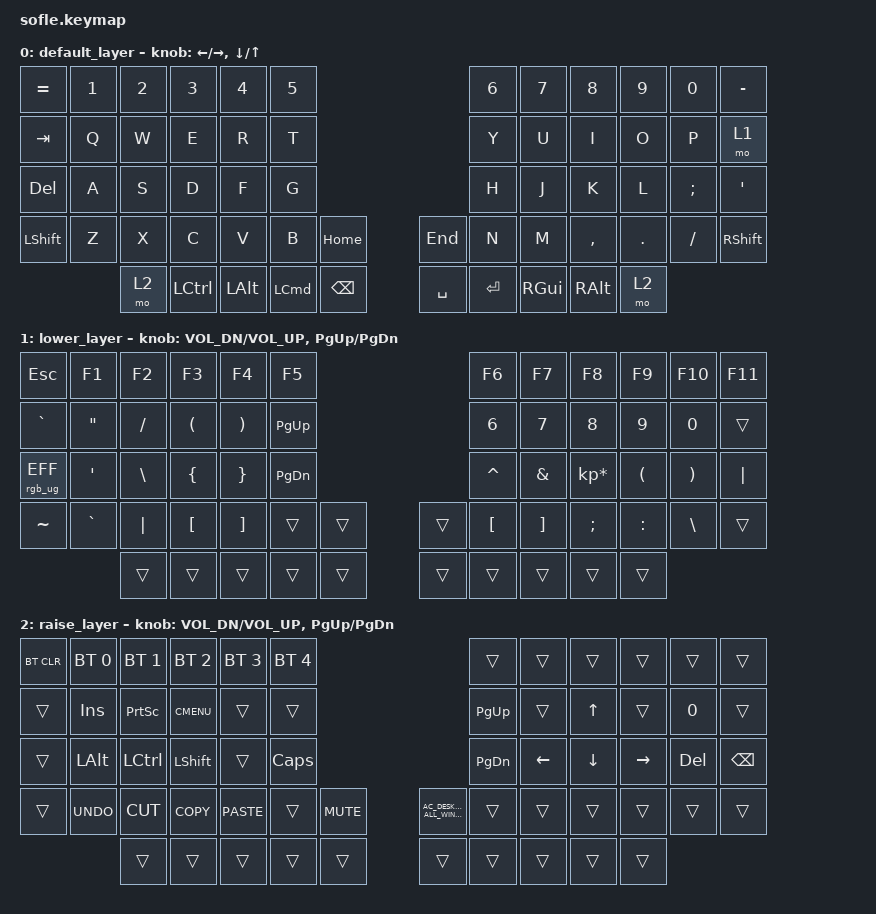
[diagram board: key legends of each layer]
/*
 * Copyright (c) 2020 The ZMK Contributors
 *
 * SPDX-License-Identifier: MIT
 */

#include <behaviors.dtsi>
#include <dt-bindings/zmk/bt.h>
#include <dt-bindings/zmk/keys.h>
#include <dt-bindings/zmk/rgb.h>

/ {
    keymap {
        compatible = "zmk,keymap";

        default_layer {
            // ------------------------------------------------------------------------------------------------------------
            // |  `    |  1  |  2  |  3   |  4   |  5   |                   |  6   |  7    |  8    |  9   |   0   |       |
            // |  ESC  |  Q  |  W  |  E   |  R   |  T   |                   |  Y   |  U    |  I    |  O   |   P   | BKSPC |
            // |  TAB  |  A  |  S  |  D   |  F   |  G   |                   |  H   |  J    |  K    |  L   |   ;   |   '   |
            // | SHIFT |  Z  |  X  |  C   |  V   |  B   |  MUTE  |  |       |  N   |  M    |  ,    |  .   |   /   | SHIFT |
            //               | GUI | ALT  | CTRL | LOWER|  ENTER |  | SPACE | RAISE| CTRL  | ALT   | GUI  |

            bindings = <
 &kp EQUAL  &kp N1  &kp N2     &kp N3        &kp N4    &kp N5                               &kp N6         &kp N7     &kp N8   &kp N9    &kp N0  &kp MINUS
   &kp TAB   &kp Q   &kp W      &kp E         &kp R     &kp T                                &kp Y          &kp U      &kp I    &kp O     &kp P      &mo 1
&kp DELETE   &kp A   &kp S      &kp D         &kp F     &kp G                                &kp H          &kp J      &kp K    &kp L  &kp SEMI    &kp SQT
 &kp LSHFT   &kp Z   &kp X      &kp C         &kp V     &kp B       &kp HOME    &kp END      &kp N          &kp M  &kp COMMA  &kp DOT  &kp FSLH  &kp RSHFT
                     &mo 2  &kp LCTRL  &kp LEFT_ALT  &kp LCMD  &kp BACKSPACE  &kp SPACE  &kp ENTER  &kp RIGHT_GUI   &kp RALT    &mo 2
            >;

            sensor-bindings =
                <&inc_dec_kp LEFT RIGHT>,
                <&inc_dec_kp DOWN_ARROW UP_ARROW>;
        };

        lower_layer {
            // TODO: Some binds are waiting for shifted keycode support.
            // ------------------------------------------------------------------------------------------------------------
            // |RGB_TOG|  F1 |  F2 |  F3  |  F4  |  F5  |                   |  F6  |  F7   |  F8   |  F9  |  F10  |  F11  |
            // | `     |   1 |   2 |   3  |   4  |   5  |                   |   6  |   7   |   8   |   9  |    0  |  F12  |
            // |RGB_EFF|  !  |  @  |  #   |  $   |  %   |                   |  ^   |  &    |  *    |  (   |   )   |   |   |
            // |       |  =  |  -  |  +   |  {   |  }   |        |  |       |  [   |  ]    |  ;    |  :   |   \   |       |
            //               |     |      |      |      |        |  |       |      |       |       |      |

            bindings = <
        &kp ESC             &kp F1         &kp F2                &kp F3                 &kp F4         &kp F5                     &kp F6    &kp F7           &kp F8     &kp F9   &kp F10   &kp F11
      &kp GRAVE  &kp DOUBLE_QUOTES      &kp SLASH  &kp LEFT_PARENTHESIS  &kp RIGHT_PARENTHESIS    &kp PAGE_UP                     &kp N6    &kp N7           &kp N8     &kp N9    &kp N0    &trans
&rgb_ug RGB_EFF   &kp SINGLE_QUOTE  &kp BACKSLASH        &kp LEFT_BRACE        &kp RIGHT_BRACE  &kp PAGE_DOWN                  &kp CARET  &kp AMPS  &kp KP_MULTIPLY   &kp LPAR  &kp RPAR  &kp PIPE
      &kp TILDE          &kp GRAVE       &kp PIPE      &kp LEFT_BRACKET      &kp RIGHT_BRACKET         &trans  &trans  &trans   &kp LBKT  &kp RBKT         &kp SEMI  &kp COLON  &kp BSLH    &trans
                                           &trans                &trans                 &trans         &trans  &trans  &trans     &trans    &trans           &trans     &trans
            >;

            sensor-bindings =
                <&inc_dec_kp C_VOL_DN C_VOL_UP>,
                <&inc_dec_kp PG_UP PG_DN>;
        };

        raise_layer {
            // ------------------------------------------------------------------------------------------------------------
            // |BTCLR| BT1  | BT2  |  BT3  |  BT4  |  BT5 |                |      |      |       |      |       |       |
            // |     | INS  | PSCR | GUI   |       |      |                | PGUP |      |   ^   |      |       |       |
            // |     | ALT  | CTRL | SHIFT |       | CAPS |                | PGDN |   <- |   v   |  ->  |  DEL  | BKSPC |
            // |     | UNDO | CUT  | COPY  | PASTE |      |      |  |      |      |      |       |      |       |       |
            //              |      |       |       |      |      |  |      |      |      |       |      |

            bindings = <
&bt BT_CLR  &bt BT_SEL 0  &bt BT_SEL 1  &bt BT_SEL 2  &bt BT_SEL 3  &bt BT_SEL 4                                                    &trans    &trans    &trans     &trans   &trans    &trans
    &trans       &kp INS     &kp PSCRN   &kp K_CMENU        &trans        &trans                                                 &kp PG_UP    &trans    &kp UP     &trans   &kp N0    &trans
    &trans      &kp LALT     &kp LCTRL     &kp LSHFT        &trans      &kp CLCK                                                 &kp PG_DN  &kp LEFT  &kp DOWN  &kp RIGHT  &kp DEL  &kp BSPC
    &trans    &kp K_UNDO     &kp K_CUT    &kp K_COPY   &kp K_PASTE        &trans  &kp C_MUTE  &kp C_AC_DESKTOP_SHOW_ALL_WINDOWS     &trans    &trans    &trans     &trans   &trans    &trans
                                &trans        &trans        &trans        &trans      &trans                             &trans     &trans    &trans    &trans     &trans
            >;

            sensor-bindings =
                <&inc_dec_kp C_VOL_DN C_VOL_UP>,
                <&inc_dec_kp PG_UP PG_DN>;
        };
    };
};
